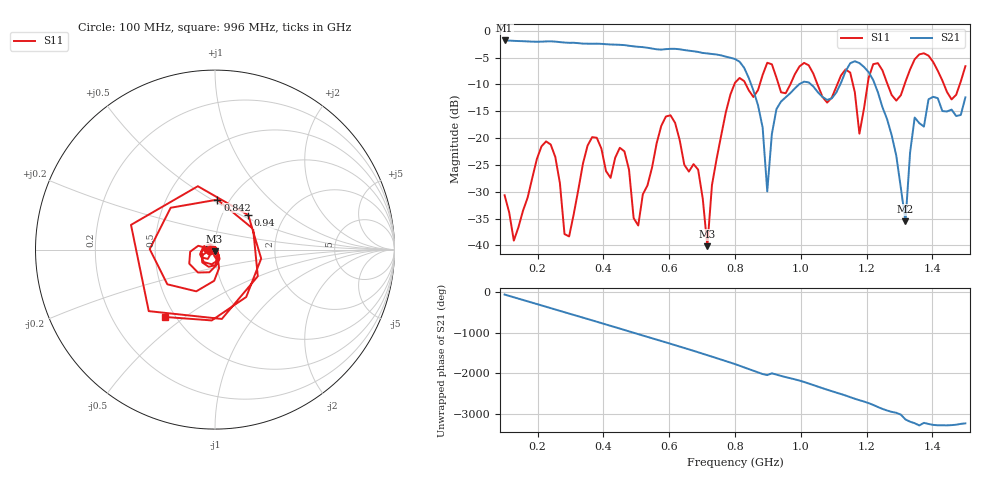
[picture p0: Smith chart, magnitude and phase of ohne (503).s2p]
! NanoVNA-App
! Date: 2025-09-25 14:24:43
! Start: 100MHz Stop: 1,5GHz Points: 101
! S-Parameter data: F S11 S21 S12 S22
# Hz S RI R 50
!  Frequency  S11_Real  S11_Imag  S21_Real  S21_Imag  S12_Real  S12_Imag  S22_Real  S22_Imag
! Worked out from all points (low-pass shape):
!   101 points, 100 MHz to 1.5 GHz, reference 50 ohm
!   highest |S21| = -1.79 dB at 100 MHz (marker M1); lowest = -35.5 dB at 1.318 GHz (marker M2)
!   |S21| within 3 dB of the highest: start of sweep to 770.8 MHz
!   lowest |S11| = -40.1 dB at 716 MHz (marker M3), VSWR 1.02, Z = 49.7 - j0.947 ohm
!   |S11| at or under -10 dB: start of sweep to 797.9 MHz; 833.1 MHz to 875.1 MHz (42.06 MHz wide, 4.92 % of centre); 1.051 GHz to 1.111 GHz (59.99 MHz wide, 5.55 % of centre) (the widest 3 of 7)
!   S12 and S22 are empty: the file has one direction only
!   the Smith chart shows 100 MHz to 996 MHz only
!   S11 on the Smith chart (normalised r, x): 100 MHz: 0.94, -0.01; 842 MHz: 0.88, +0.53; 940 MHz: 1.33, +0.55; 996 MHz: 0.44, -0.42
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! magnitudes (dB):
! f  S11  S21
! 100 MHz  -30.6  -1.8
! 128 MHz  -39.1  -1.9
! 226 MHz  -20.6  -2.0
! 296 MHz  -38.3  -2.2
! 338 MHz  -24.8  -2.4
! 464 MHz  -22.5  -2.7
! 506 MHz  -36.3  -3.0
! 576 MHz  -17.7  -3.5
! 688 MHz  -25.9  -3.9
! 716 MHz  -40.1  -4.2
! 800 MHz  -9.7  -5.3
! 842 MHz  -11.1  -8.8
! 898 MHz  -6.0  -29.9
! 940 MHz  -11.5  -13.2
! 996 MHz  -6.6  -9.9
! 1.038 GHz  -8.0  -10.4
! 1.178 GHz  -19.2  -6.0
! 1.22 GHz  -6.2  -9.2
! 1.276 GHz  -12.0  -19.4
! 1.318 GHz  -9.5  -35.5
! 1.346 GHz  -5.3  -16.2
! 1.5 GHz  -6.6  -12.4
